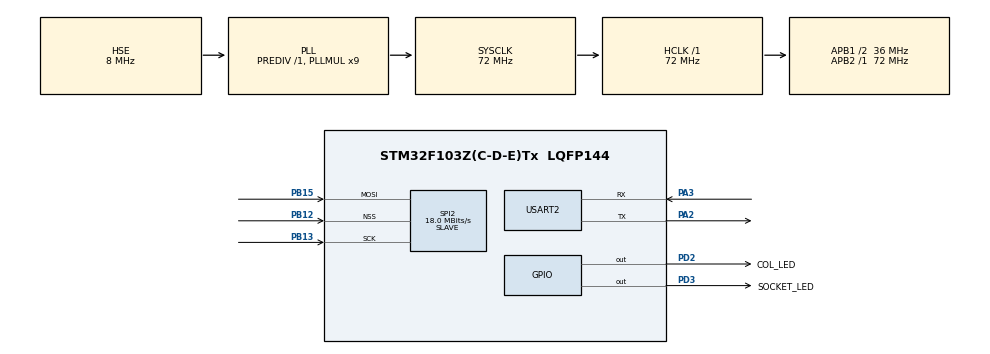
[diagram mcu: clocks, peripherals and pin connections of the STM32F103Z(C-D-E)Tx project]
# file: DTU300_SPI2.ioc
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Dma.Request0=SPI2_RX
Dma.SPI2_RX.0.Direction=DMA_PERIPH_TO_MEMORY
Dma.SPI2_RX.0.Instance=DMA1_Channel4
Dma.SPI2_RX.0.MemDataAlignment=DMA_MDATAALIGN_BYTE
Dma.SPI2_RX.0.MemInc=DMA_MINC_ENABLE
Dma.SPI2_RX.0.Mode=DMA_CIRCULAR
Dma.SPI2_RX.0.PeriphDataAlignment=DMA_PDATAALIGN_BYTE
Dma.SPI2_RX.0.PeriphInc=DMA_PINC_DISABLE
Dma.SPI2_RX.0.Priority=DMA_PRIORITY_LOW
Mcu.Family=STM32F1
Mcu.Name=STM32F103Z(C-D-E)Tx
Mcu.Package=LQFP144
NVIC.DMA1_Channel4_IRQn=true\:0\:0\:false\:false\:true\:false\:true
NVIC.PriorityGroup=NVIC_PRIORITYGROUP_4
OSC_IN.Mode=HSE-External-Oscillator
OSC_IN.Signal=RCC_OSC_IN
OSC_OUT.Mode=HSE-External-Oscillator
OSC_OUT.Signal=RCC_OSC_OUT
PA13.Mode=Serial_Wire
PA13.Signal=SYS_JTMS-SWDIO
PA14.Mode=Serial_Wire
PA14.Signal=SYS_JTCK-SWCLK
PA2.Mode=Asynchronous
PA2.Signal=USART2_TX
PA3.Mode=Asynchronous
PA3.Signal=USART2_RX
PB12.Mode=NSS_Signal_Hard_Input
PB12.Signal=SPI2_NSS
PB13.Mode=RX_Only_Simplex_Unidirect_Slave
PB13.Signal=SPI2_SCK
PB15.Mode=RX_Only_Simplex_Unidirect_Slave
PB15.Signal=SPI2_MOSI
PD2.GPIO_Label=COL_LED
PD2.Signal=GPIO_Output
PD3.GPIO_Label=SOCKET_LED
PD3.Signal=GPIO_Output
ProjectManager.HeapSize=0x200
ProjectManager.StackSize=0x400
ProjectManager.TargetToolchain=TrueSTUDIO
RCC.AHBFreq_Value=72000000
RCC.APB1CLKDivider=RCC_HCLK_DIV2
RCC.APB1Freq_Value=36000000
RCC.APB1TimFreq_Value=72000000
RCC.APB2Freq_Value=72000000
RCC.APB2TimFreq_Value=72000000
RCC.HCLKFreq_Value=72000000
RCC.PLLMUL=RCC_PLL_MUL9
RCC.PLLSourceVirtual=RCC_PLLSOURCE_HSE
RCC.SYSCLKFreq_VALUE=72000000
RCC.SYSCLKSource=RCC_SYSCLKSOURCE_PLLCLK
RCC.USBFreq_Value=72000000
SPI2.BaudRatePrescaler=SPI_BAUDRATEPRESCALER_2
SPI2.CLKPhase=SPI_PHASE_1EDGE
SPI2.CLKPolarity=SPI_POLARITY_HIGH
SPI2.CalculateBaudRate=18.0 MBits/s
SPI2.Direction=SPI_DIRECTION_2LINES_RXONLY
SPI2.Mode=SPI_MODE_SLAVE
SPI2.VirtualNSS=VM_NSSHARD
SPI2.VirtualType=VM_SLAVE
USART2.VirtualMode=VM_ASYNC
board=custom

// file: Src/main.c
/* USER CODE BEGIN Header */
/**
  ******************************************************************************
  * @file           : main.c
  * @brief          : Main program body
  ******************************************************************************
  * @attention
  *
  * <h2><center>&copy; Copyright (c) 2019 STMicroelectronics.
  * All rights reserved.</center></h2>
  *
  * This software component is licensed by ST under BSD 3-Clause license,
  * the "License"; You may not use this file except in compliance with the
  * License. You may obtain a copy of the License at:
  *                        opensource.org/licenses/BSD-3-Clause
  *
  ******************************************************************************
  */
/* USER CODE END Header */

#include "main.h"

/* USER CODE BEGIN PM */
//#define RX_BUF_SIZE 256
#define RX_BUF_SIZE 1024
#define MAX_DMA_BUFFER_SIZE 1024
/* USER CODE END PM */

SPI_HandleTypeDef hspi2;
DMA_HandleTypeDef hdma_spi2_rx;

UART_HandleTypeDef huart2;

/* USER CODE BEGIN PV */
volatile uint8_t buf_index = 0;
uint8_t Tx[] = {0xFE, 0xED, 0x50, 0x11, 0x00, 0x00};
uint8_t Rx[RX_BUF_SIZE] = {0x00,};
/* USER CODE END PV */

void SystemClock_Config(void);
static void MX_GPIO_Init(void);
static void MX_DMA_Init(void);
static void MX_SPI2_Init(void);
static void MX_USART2_UART_Init(void);

/* USER CODE BEGIN 0 */
int _write(int file, char* p, int len)
{
  HAL_UART_Transmit(&huart2, p, len, 10);
  return len;
}

void spi_proc(void);
/* USER CODE END 0 */

int main(void)
{
  /* USER CODE BEGIN 1 */
  uint16_t i;
  /* USER CODE END 1 */

  /* MCU Configuration--------------------------------------------------------*/

  /* Reset of all peripherals, Initializes the Flash interface and the Systick. */
  HAL_Init();

  /* Configure the system clock */
  SystemClock_Config();

  /* Initialize all configured peripherals */
  MX_GPIO_Init();
  MX_DMA_Init();
  MX_SPI2_Init();
  MX_USART2_UART_Init();
  /* USER CODE BEGIN 2 */
  SPI2->CR2 |= 0x0040;    // RXNE interrupt enable
  SPI2->CR1 |= 0x0040;    // SPI enable

  SPI2->DR = Tx[0];       // Write initial byte

  HAL_SPI_Receive_DMA(&hspi2, Rx, RX_BUF_SIZE);
  /* USER CODE END 2 */

  /* Infinite loop */
  while (1)
  {

    /* USER CODE BEGIN 3 */
    HAL_GPIO_TogglePin(SOCKET_LED_GPIO_Port, SOCKET_LED_Pin);
    //printf("%X %d %d %d %d %d \r \n", Rx[0], Rx[1], Rx[2], Rx[3], Rx[4], Rx[5]);
    //printf("%X %X %X %X %X %X \r \n", Rx[0], Rx[1], Rx[2], Rx[3], Rx[4], Rx[5]);
    /*
    for(i=0; i<RX_BUF_SIZE; i++)
    {
      //SPI2->DR = Rx[i];
      if(((i+1) % 4) == 0 )
        printf("%02X \r\n", Rx[i]);
      else
        printf("%02X ", Rx[i]);
    }
    printf("\r\n");
    */

    spi_proc();
    //HAL_SPI_Transmit_IT(&hspi2, Rx, 6);
    HAL_Delay(200);
    //HAL_Delay(50);
  }
  /* USER CODE END 3 */
}

void SystemClock_Config(void)
{
  RCC_OscInitTypeDef RCC_OscInitStruct = {0};
  RCC_ClkInitTypeDef RCC_ClkInitStruct = {0};

  /** Initializes the CPU, AHB and APB busses clocks
  */
  RCC_OscInitStruct.OscillatorType = RCC_OSCILLATORTYPE_HSE;
  RCC_OscInitStruct.HSEState = RCC_HSE_ON;
  RCC_OscInitStruct.HSEPredivValue = RCC_HSE_PREDIV_DIV1;
  RCC_OscInitStruct.HSIState = RCC_HSI_ON;
  RCC_OscInitStruct.PLL.PLLState = RCC_PLL_ON;
  RCC_OscInitStruct.PLL.PLLSource = RCC_PLLSOURCE_HSE;
  RCC_OscInitStruct.PLL.PLLMUL = RCC_PLL_MUL9;
  if (HAL_RCC_OscConfig(&RCC_OscInitStruct) != HAL_OK)
  {
    Error_Handler();
  }
  /** Initializes the CPU, AHB and APB busses clocks
  */
  RCC_ClkInitStruct.ClockType = RCC_CLOCKTYPE_HCLK|RCC_CLOCKTYPE_SYSCLK
                              |RCC_CLOCKTYPE_PCLK1|RCC_CLOCKTYPE_PCLK2;
  RCC_ClkInitStruct.SYSCLKSource = RCC_SYSCLKSOURCE_PLLCLK;
  RCC_ClkInitStruct.AHBCLKDivider = RCC_SYSCLK_DIV1;
  RCC_ClkInitStruct.APB1CLKDivider = RCC_HCLK_DIV2;
  RCC_ClkInitStruct.APB2CLKDivider = RCC_HCLK_DIV1;

  if (HAL_RCC_ClockConfig(&RCC_ClkInitStruct, FLASH_LATENCY_2) != HAL_OK)
  {
    Error_Handler();
  }
}

static void MX_SPI2_Init(void)
{

  /* SPI2 parameter configuration*/
  hspi2.Instance = SPI2;
  hspi2.Init.Mode = SPI_MODE_SLAVE;
  hspi2.Init.Direction = SPI_DIRECTION_2LINES_RXONLY;
  hspi2.Init.DataSize = SPI_DATASIZE_8BIT;
  hspi2.Init.CLKPolarity = SPI_POLARITY_HIGH;
  hspi2.Init.CLKPhase = SPI_PHASE_1EDGE;
  hspi2.Init.NSS = SPI_NSS_HARD_INPUT;
  hspi2.Init.BaudRatePrescaler = SPI_BAUDRATEPRESCALER_2;
  hspi2.Init.FirstBit = SPI_FIRSTBIT_MSB;
  hspi2.Init.TIMode = SPI_TIMODE_DISABLE;
  hspi2.Init.CRCCalculation = SPI_CRCCALCULATION_DISABLE;
  hspi2.Init.CRCPolynomial = 10;
  if (HAL_SPI_Init(&hspi2) != HAL_OK)
  {
    Error_Handler();
  }

}

static void MX_USART2_UART_Init(void)
{

  huart2.Instance = USART2;
  huart2.Init.BaudRate = 115200;
  huart2.Init.WordLength = UART_WORDLENGTH_8B;
  huart2.Init.StopBits = UART_STOPBITS_1;
  huart2.Init.Parity = UART_PARITY_NONE;
  huart2.Init.Mode = UART_MODE_TX_RX;
  huart2.Init.HwFlowCtl = UART_HWCONTROL_NONE;
  huart2.Init.OverSampling = UART_OVERSAMPLING_16;
  if (HAL_UART_Init(&huart2) != HAL_OK)
  {
    Error_Handler();
  }

}

static void MX_DMA_Init(void)
{
  /* DMA controller clock enable */
  __HAL_RCC_DMA1_CLK_ENABLE();

  /* DMA interrupt init */
  /* DMA1_Channel4_IRQn interrupt configuration */
  HAL_NVIC_SetPriority(DMA1_Channel4_IRQn, 0, 0);
  HAL_NVIC_EnableIRQ(DMA1_Channel4_IRQn);

}

static void MX_GPIO_Init(void)
{
  GPIO_InitTypeDef GPIO_InitStruct = {0};

  /* GPIO Ports Clock Enable */
  __HAL_RCC_GPIOA_CLK_ENABLE();
  __HAL_RCC_GPIOB_CLK_ENABLE();
  __HAL_RCC_GPIOD_CLK_ENABLE();

  /*Configure GPIO pin Output Level */
  HAL_GPIO_WritePin(GPIOD, COL_LED_Pin|SOCKET_LED_Pin, GPIO_PIN_RESET);

  /*Configure GPIO pins : COL_LED_Pin SOCKET_LED_Pin */
  GPIO_InitStruct.Pin = COL_LED_Pin|SOCKET_LED_Pin;
  GPIO_InitStruct.Mode = GPIO_MODE_OUTPUT_PP;
  GPIO_InitStruct.Pull = GPIO_NOPULL;
  GPIO_InitStruct.Speed = GPIO_SPEED_FREQ_LOW;
  HAL_GPIO_Init(GPIOD, &GPIO_InitStruct);

}

/* USER CODE BEGIN 4 */
void spi_proc()
{
    //짜투리 처리용
    uint16_t tail=0;
    uint16_t rxlen = 0;
    uint16_t i = 0;

    static uint16_t spiCurIndex = 0;
    static uint16_t spiPrevIndex = 0;

    //임시 버퍼
    uint8_t spi_buf[MAX_DMA_BUFFER_SIZE];

    //DMA 버퍼 카운트
    spiCurIndex = (uint16_t)(MAX_DMA_BUFFER_SIZE-hdma_spi2_rx.Instance->CNDTR);

    //for debugging
    //printf("%02X", (uint8_t)(spiCurIndex >> 8));  // Upper value of 16
    //printf("%02X", (uint8_t)(spiCurIndex & 0x00FF));  // Lower value of 16
    //printf("\r\n");

    //이전까지 읽은 버퍼 위치와 DMA 버퍼 위치가 다르면
    //데이터가 들어 왔으므로 현재 DMA 버퍼 위치까지 읽어온다.
    if(spiCurIndex != spiPrevIndex)
    {
        //이전까지 읽은 위치가 DMA 버퍼 위치보다 크다면
        //한바퀴가 돌아간 것이기 때문에 아래와 같이 처리해준다.
        if(spiPrevIndex > spiCurIndex)
        {
            tail = (MAX_DMA_BUFFER_SIZE - spiPrevIndex);
            rxlen = spiCurIndex - tail;
            //memcpy(spi_buf, &spiDMABuf[spiPrevIndex], tail);
            memcpy(spi_buf, &Rx[spiPrevIndex], tail);
            memcpy(&spi_buf[tail], &Rx[0], spiCurIndex);
            rxlen = spiCurIndex + tail;
        }
        else
        {
            rxlen = spiCurIndex - spiPrevIndex;
            memcpy(spi_buf, &Rx[spiPrevIndex], rxlen);
        }
        //지금까지 읽은 버퍼 위치 기억
        spiPrevIndex = spiCurIndex;

        //UART로 데이터 보냄.
        //HAL_UART_Transmit(&huart2, (uint8_t *)&spi_buf, rxlen, 0xFFFF);
        //
        for(i=0; i<MAX_DMA_BUFFER_SIZE; i++)
        {
          if(((i+1) % 4) == 0 )
            printf("%02X \r\n", Rx[i]);

          else
            printf("%02X ", Rx[i]);
            fflush (stdout);
        }
        printf("\r\n");
        //
    }
}
/* USER CODE END 4 */

void Error_Handler(void)
{
}

/************************ (C) COPYRIGHT STMicroelectronics *****END OF FILE****/
